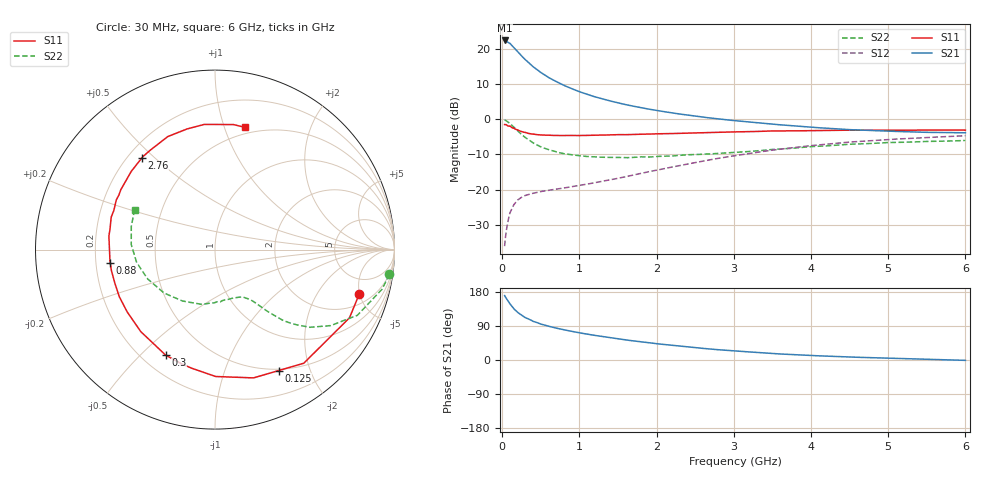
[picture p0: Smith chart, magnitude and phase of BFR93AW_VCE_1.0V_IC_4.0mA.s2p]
! Infineon Technologies  Discrete & RF Semiconductors
! BFR93AW
! VCE =  1.0 V,  IC =  4.0 mA
! Common Emitter S-Parameters:  Nov 2015
# GHz  S  MA  R  50
!  f  S11  S21  S12  S22
! GHz  MAG  ANG  MAG  ANG  MAG  ANG  MAG  ANG
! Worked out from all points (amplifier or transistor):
!   206 points, 30 MHz to 6 GHz, reference 50 ohm
!   highest |S21| = 22.4 dB at 30 MHz (marker M1)
!   |S21| within 3 dB of that: start of sweep to 191.8 MHz
!   unconditionally stable (mu >= 1): 977.8 MHz to 2.674 GHz
!   at 200 MHz: K = 0.26, MSG = 21.0 dB, |S12| = -22.9 dB
!   at 1.56 GHz: K = 1.14, MAG = 8.1 dB, |S12| = -16.5 dB
!   at 6 GHz: K = 0.99, MSG = 0.4 dB, |S12| = -4.7 dB
!   S11 on the Smith chart (normalised r, x): 30 MHz: 2.91, -4.95; 125 MHz: 0.48, -1.55; 300 MHz: 0.29, -0.60; 880 MHz: 0.26, -0.06; 2.76 GHz: 0.26, +0.45; 6 GHz: 0.44, +1.18
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0.03  0.8411 -17.2  13.13 169.8  0.0158 78.2  0.9818 -8.1
0.05  0.84 -26.9  12.96 162.8  0.0254 75.3  0.9562 -13.4
0.1  0.8035 -52.0  11.91 147.6  0.0471 64.0  0.8735 -24.8
0.125  0.7616 -62.2  11.1 141.7  0.054 59.0  0.8203 -28.7
0.15  0.7463 -73.3  10.43 135.0  0.0613 55.1  0.7716 -33.3
0.2  0.7071 -89.7  9.1 125.5  0.0715 48.8  0.6835 -39.3
0.24  0.6739 -100.9  8.141 119.4  0.0768 45.1  0.6211 -42.5
0.3  0.6494 -115.0  6.981 111.5  0.0831 41.3  0.5482 -46.1
0.4  0.6164 -132.1  5.558 102.0  0.0891 38.5  0.461 -49.3
0.5  0.5999 -144.7  4.608 94.7  0.0942 37.7  0.4044 -51.5
0.6  0.5943 -153.8  3.911 89.0  0.098 37.8  0.3695 -52.9
0.7  0.5884 -161.8  3.416 84.0  0.1023 39.3  0.3442 -54.6
0.88  0.5883 -172.7  2.771 76.4  0.1094 41.9  0.3154 -58.0
1.04  0.5883 179.4  2.376 70.3  0.1172 44.8  0.3004 -61.7
1.2  0.5961 172.7  2.081 64.9  0.1256 47.5  0.2931 -65.9
1.5  0.6059 162.5  1.705 55.8  0.1452 52.1  0.2877 -74.7
2.02  0.6222 147.0  1.321 42.5  0.1911 56.5  0.2971 -91.6
2.76  0.6531 128.7  1.022 27.8  0.2741 55.8  0.3256 -115.5
3.1  0.6633 121.1  0.936 22.6  0.3148 53.4  0.3432 -126.2
4.1  0.6908 101.4  0.758 11.0  0.4322 42.5  0.4135 -159.4
5.1  0.6983 86.6  0.672 4.1  0.5228 29.6  0.469 174.1
6  0.7012 76.0  0.643 -0.9  0.5838 19.0  0.5 153.5
